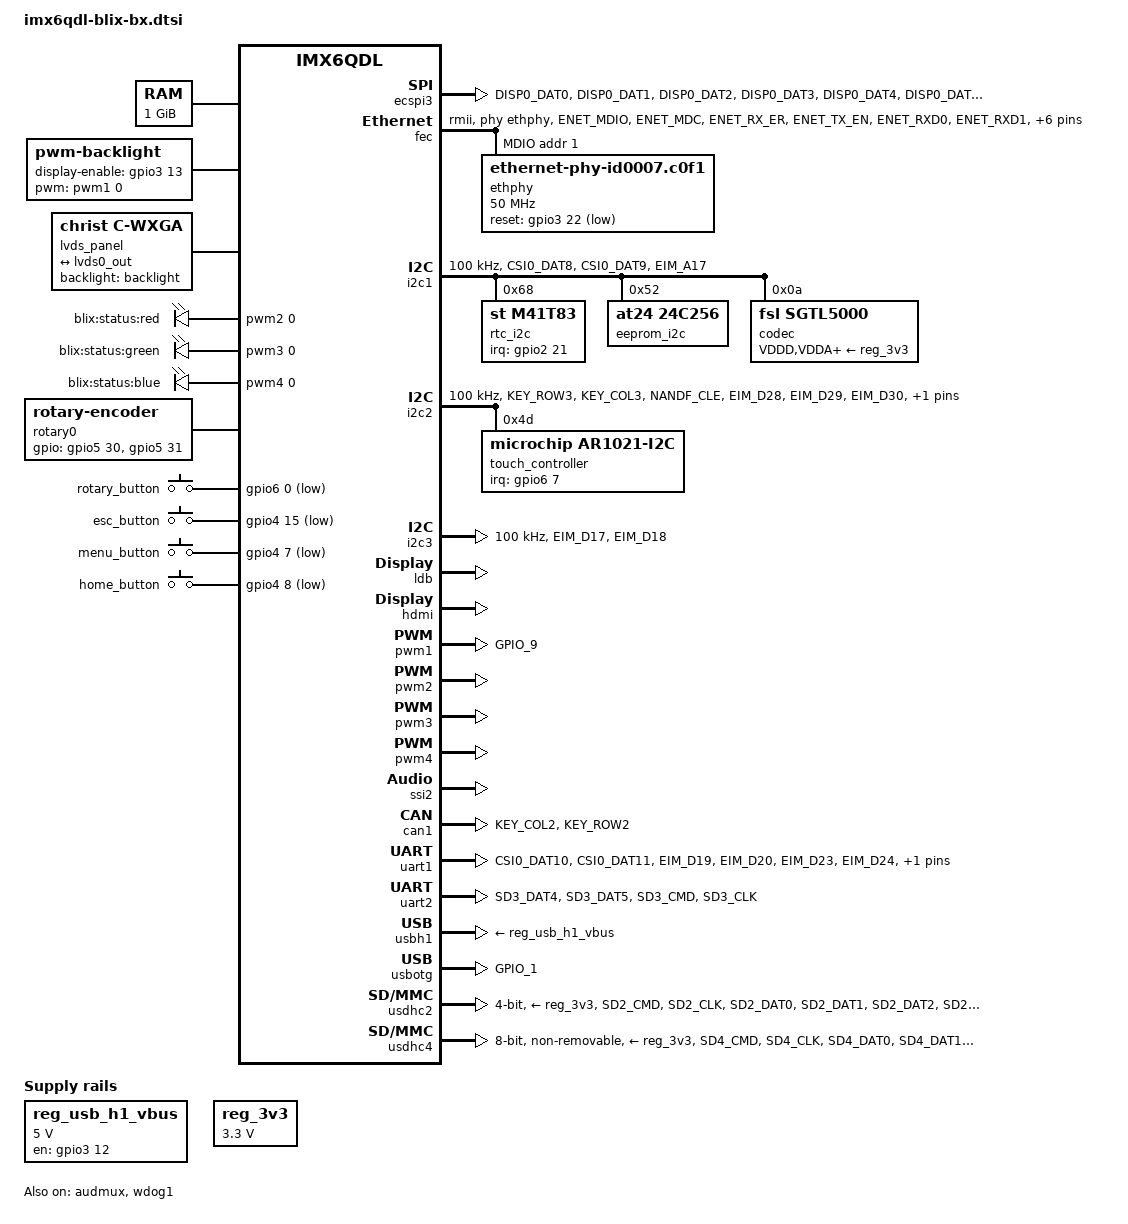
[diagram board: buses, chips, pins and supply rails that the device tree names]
// SPDX-License-Identifier: GPL-2.0+
/*
 * Copyright (C) 2020 Christ Electronic Systems GmbH
 * Peter Fink <pfink@christ-es.de>
 * Copyright 2012-2015 Freescale Semiconductor, Inc.
 * Copyright 2011 Linaro Ltd.
 *
 * The code contained herein is licensed under the GNU General Public
 * License. You may obtain a copy of the GNU General Public License
 * Version 2 or later at the following locations:
 *
 * http://www.opensource.org/licenses/gpl-license.html
 * http://www.gnu.org/copyleft/gpl.html
 */

#include <dt-bindings/clock/imx6qdl-clock.h>
#include <dt-bindings/gpio/gpio.h>
#include <dt-bindings/input/input.h>

/ {

	aliases {
		backlight_lvds = &backlight;
		fb_lvds = &lvds_panel;
		t_lvds = "/panel/panel-timing";
		ldb = &ldb;
	};

	chosen {
		stdout-path = &uart1;
	};

	memory@10000000 {
		reg = <0x10000000 0x40000000>;
	};

	regulators {
		compatible = "simple-bus";
		#address-cells = <1>;
		#size-cells = <0>;

		reg_usb_h1_vbus: regulator@1 {
			compatible = "regulator-fixed";
			reg = <0>;
			regulator-name = "usb_h1_vbus";
			regulator-min-microvolt = <5000000>;
			regulator-max-microvolt = <5000000>;
			pinctrl-names = "default";
			pinctrl-0 = <&pinctrl_usbhub_reset>;
			gpio = <&gpio3 12 0>;
			enable-active-high;
			startup-delay-us = <2000>;
			status = "okay";
		};

		reg_3v3: regulator@2 {
			compatible = "regulator-fixed";
			regulator-name = "3P3V";
			regulator-min-microvolt = <3300000>;
			regulator-max-microvolt = <3300000>;
			regulator-always-on;
		};
	};

	backlight: backlight {
		compatible = "pwm-backlight";
		pwms = <&pwm1 0 5000000>;
		brightness-levels = <0 4 8 16 32 64 128 255>;
		default-brightness-level = <7>;
		pinctrl-0 = <&pinctrl_bkl>;
		display-enable-gpios = <&gpio3 13 0>;
		status = "okay";
	};

	lvds_panel: panel {
		compatible = "christ,c-wxga", "panel-lvds";
		backlight = <&backlight>;

		width-mm = <216>;
		height-mm = <135>;

		data-mapping = "jeida-18";

		panel-timing {
			clock-frequency = <68930000>;
			hactive = <1280>;
			vactive = <800>;
			hback-porch = <64>;
			hfront-porch = <64>;
			vback-porch = <5>;
			vfront-porch = <5>;
			hsync-len = <40>;
			vsync-len = <6>;
		};

		port {
			panel_in: endpoint {
			remote-endpoint = <&lvds0_out>;
			};
		};
	};

	pwm-leds {
		compatible = "pwm-leds";
		pinctrl-names = "default";
		pinctrl-0 = <&pinctrl_status_led_pwms>;

		red {
			label = "blix:status:red";
			pwms = <&pwm2 0 50000>;
			max-brightness = <100>;
			initial-brightness = <0>;
			active-low;
		};

		green {
			label = "blix:status:green";
			pwms = <&pwm3 0 50000>;
			max-brightness = <100>;
			initial-brightness = <0>;
			active-low;
		};

		blue {
			label = "blix:status:blue";
			pwms = <&pwm4 0 50000>;
			max-brightness = <100>;
			initial-brightness = <0>;
			active-low;
		};

	};

	rotary0 {
		compatible = "rotary-encoder";
		pinctrl-names = "default";
		pinctrl-0 = <&pinctrl_rotary>;
		gpios = <&gpio5 30 0>, <&gpio5 31 0>;
		/* linux,axis = <1>;*/ /* REL_Y */
		/* rotary-encoder,relative-axis; */
		rotary-encoder,noaxis;
		rotary-encoder,codeCCW = <60>; /* KEY_F2 */
		rotary-encoder,codeCW = <15>; /* KEY_TAB */
		rotary-encoder,half-period;
	};

	gpio-keys {
		compatible = "gpio-keys";
		pinctrl-names = "default";
		pinctrl-0 = <&pinctrl_gpio_keys>;

		rotary_button {
			label = "rotary_button";
			gpios = <&gpio6 0 GPIO_ACTIVE_LOW>;
			debounce-interval = <10>;
			linux,code = <28>; /* KEY_ENTER */
		};

		home_button {
			label = "esc_button";
			gpios = <&gpio4 15 GPIO_ACTIVE_LOW>;
			debounce-interval = <10>;
			linux,code = <1>; /* KEY_ESC */
		};

		menu_button {
			label = "menu_button";
			gpios = <&gpio4 7 GPIO_ACTIVE_LOW>;
			debounce-interval = <10>;
			linux,code = <127>; /* KEY_COMPOSE */
		};

		esc_button {
			label = "home_button";
			gpios = <&gpio4 8 GPIO_ACTIVE_LOW>;
			debounce-interval = <10>;
			linux,code = <102>; /* KEY_HOME */
		};

	};

	hannstar_cabc {
		compatible = "hannstar,cabc";
		pinctrl-names = "default";
		pinctrl-0 = <&pinctrl_cabc>;
		lvds0 {
			gpios = <&gpio6 15 GPIO_ACTIVE_HIGH>;
		};
	};

	sound {
		compatible = "fsl,imx6q-sabrelite-sgtl5000",
			     "fsl,imx-audio-sgtl5000";
		model = "imx6q-crix-arx-sgtl5000";
		ssi-controller = <&ssi2>;
		audio-codec = <&codec>;
		audio-routing =
			"Ext Spk", "LINE_OUT";
		mux-int-port = <2>;
		mux-ext-port = <3>;
	};
};

&audmux {
	pinctrl-names = "default";
	pinctrl-0 = <&pinctrl_audmux>;
	status = "okay";
};

&clks {
	assigned-clocks = <&clks IMX6QDL_CLK_LDB_DI0_SEL>,
			  <&clks IMX6QDL_CLK_LDB_DI1_SEL>;
	assigned-clock-parents = <&clks IMX6QDL_CLK_PLL5_VIDEO_DIV>,
				 <&clks IMX6QDL_CLK_PLL5_VIDEO_DIV>;
};

&ecspi3 {
	fsl,spi-num-chipselects = <2>;
	cs-gpios = <&gpio4 24 0>, <&gpio4 25 0>;
	pinctrl-0 = <&pinctrl_ecspi3>;
	status = "okay";
};

&fec {
	pinctrl-names = "default";
	pinctrl-0 = <&pinctrl_enet>;
	phy-mode = "rmii";
	interrupts-extended = <&gpio1 6 IRQ_TYPE_LEVEL_HIGH>,
			      <&intc 0 119 IRQ_TYPE_LEVEL_HIGH>;
	fsl,err006687-workaround-present;
	phy-handle = <&ethphy>;
	status = "okay";

	mdio {
		#address-cells = <1>;
		#size-cells = <0>;

		ethphy: ethernet-phy@1 {
			compatible = "ethernet-phy-id0007.c0f1", "ethernet-phy-ieee802.3-c22";
			smsc,disable-energy-detect;
			reg = <1>;
			max-speed = <100>;
			clock-frequency = <50000000>;
			pinctrl-names = "default";
			pinctrl-0 = <&pinctrl_ethphy>;
			reset-gpios = <&gpio3 22 GPIO_ACTIVE_LOW>;
			reset-assert-us = <120>;
			reset-deassert-us = <120>;
		};
	};
};

&i2c1 {
	clock-frequency = <100000>;
	pinctrl-names = "default";
	pinctrl-0 = <&pinctrl_i2c1>;
	status = "okay";

        rtc_i2c: rtc@68 {
                compatible = "st,m41t83";
                reg = <0x68>;
		interrupt-parent = <&gpio2>;
		interrupts = <21 IRQ_TYPE_LEVEL_LOW>;
        };

        eeprom_i2c: at24@52 {
                compatible = "at24,24c256";
                pagesize = <32>;
                reg = <0x52>;
        };

	codec: sgtl5000@0a {
		compatible = "fsl,sgtl5000";
		reg = <0x0a>;
		clocks = <&clks 201>;
		VDDD-supply = <&reg_3v3>;
		VDDA-supply = <&reg_3v3>;
		VDDIO-supply = <&reg_3v3>;
	};
};

&i2c2 {
	clock-frequency = <100000>;
	pinctrl-names = "default";
	pinctrl-0 = <&pinctrl_i2c2>;
	status = "okay";

	touch_controller: ar1021@4d {
		compatible = "microchip,ar1021-i2c";
		reg = <0x4d>;
		interrupt-parent = <&gpio6>;
		interrupts = <7 IRQ_TYPE_LEVEL_HIGH>;
	};

	/* HDMI/EDID */
};

&i2c3 {
	clock-frequency = <100000>;
	pinctrl-names = "default";
	pinctrl-0 = <&pinctrl_i2c3>;
	status = "okay";
};

&iomuxc {
	pinctrl-names = "default";
	pinctrl-0 = <&pinctrl_extra &pinctrl_config>;

	blix {
		pinctrl_extra: extragrp {
			fsl,pins = <
				MX6QDL_PAD_EIM_D26__GPIO3_IO26		0x130b0 /* RESET_OUT_GPIO */
				MX6QDL_PAD_NANDF_WP_B__GPIO6_IO09	0x130b0 /* WDOG_RESET_IN */
				MX6QDL_PAD_NANDF_RB0__GPIO6_IO10	0x130b0 /* WDOG_RESET_OUT */
			>;
		};

		pinctrl_config: configgrp {
			fsl,pins = <
				MX6QDL_PAD_EIM_DA3__GPIO3_IO03		0x130b0 /* config_0 */
				MX6QDL_PAD_EIM_DA6__GPIO3_IO06		0x130b0 /* config_1 */
				MX6QDL_PAD_EIM_DA8__GPIO3_IO08		0x130b0 /* config_2 */
			>;
		};

		pinctrl_enet: enetgrp {
			fsl,pins = <
				MX6QDL_PAD_ENET_MDIO__ENET_MDIO		0x1b0b0
				MX6QDL_PAD_ENET_MDC__ENET_MDC		0x1b0b0
				MX6QDL_PAD_ENET_RX_ER__ENET_RX_ER	0x1b0b0
				MX6QDL_PAD_ENET_TX_EN__ENET_TX_EN	0x1b0b0
				MX6QDL_PAD_ENET_RXD0__ENET_RX_DATA0	0x1b0b0
				MX6QDL_PAD_ENET_RXD1__ENET_RX_DATA1	0x1b0b0
				MX6QDL_PAD_ENET_TXD0__ENET_TX_DATA0	0x1b0b0
				MX6QDL_PAD_ENET_TXD1__ENET_TX_DATA1	0x1b0b0
				MX6QDL_PAD_GPIO_16__ENET_REF_CLK	0x4001b0a8
				MX6QDL_PAD_ENET_CRS_DV__ENET_RX_EN	0x1b0b0
				MX6QDL_PAD_GPIO_6__ENET_IRQ		0x000b1 /* workaround for err006687 */
				MX6QDL_PAD_EIM_DA7__GPIO3_IO07		0x1b0b0 /* LAN8720 nINT - not used at the moment */
			>;
		};

		pinctrl_ethphy: ethphygrp {
			fsl,pins = <
				MX6QDL_PAD_EIM_D22__GPIO3_IO22          0x1b0b0 /* LAN8720 nRST */
			>;
		};

		pinctrl_bkl: gpio_bkl {
			fsl,pins = <
				MX6QDL_PAD_GPIO_17__GPIO7_IO12		0x130b0 /* PD */
			>;
		};

		pinctrl_status_led_pwms: rgbpwmgrp {
			fsl,pins = <
				MX6QDL_PAD_SD1_DAT2__PWM2_OUT		0x1b0b0
				MX6QDL_PAD_SD1_DAT1__PWM3_OUT		0x1b0b0
				MX6QDL_PAD_SD1_CMD__PWM4_OUT		0x1b0b0
			>;
		};

		pinctrl_i2c1: i2c1grp {
			fsl,pins = <
				MX6QDL_PAD_CSI0_DAT8__I2C1_SDA		0x4001b8b1
				MX6QDL_PAD_CSI0_DAT9__I2C1_SCL		0x4001b8b1
				MX6QDL_PAD_EIM_A17__GPIO2_IO21		0x1b0b0 /* RTC_ALARM_IRQ */
			>;
		};

		pinctrl_i2c2: i2c2grp {
				fsl,pins = <
					MX6QDL_PAD_KEY_ROW3__I2C2_SDA		0x4001b8b1
					MX6QDL_PAD_KEY_COL3__I2C2_SCL		0x4001b8b1
					MX6QDL_PAD_NANDF_CLE__GPIO6_IO07	0x130b0 /* AR1021_INT */
					MX6QDL_PAD_EIM_D28__GPIO3_IO28		0x130b0 /* I2C2_1_INT1 */
					MX6QDL_PAD_EIM_D29__GPIO3_IO29		0x130b0 /* I2C2_1_INT2 */
					MX6QDL_PAD_EIM_D30__GPIO3_IO30		0x130b0 /* I2C2_2_INT1 */
					MX6QDL_PAD_EIM_D31__GPIO3_IO31		0x130b0 /* I2C2_2_INT2 */
				>;
			};

		pinctrl_i2c3: i2c3grp {
			fsl,pins = <
				MX6QDL_PAD_EIM_D17__I2C3_SCL		0x4001b8b1
				MX6QDL_PAD_EIM_D18__I2C3_SDA		0x4001b8b1
			>;
		};

		pinctrl_ecspi3: spi3grp {
			fsl,pins = <
				MX6QDL_PAD_DISP0_DAT0__ECSPI3_SCLK	0x100b1
				MX6QDL_PAD_DISP0_DAT1__ECSPI3_MOSI	0x100b1
				MX6QDL_PAD_DISP0_DAT2__ECSPI3_MISO	0x100b1
				MX6QDL_PAD_DISP0_DAT3__GPIO4_IO24	0x1b0b0
				MX6QDL_PAD_DISP0_DAT4__GPIO4_IO25	0x1b0b0
				MX6QDL_PAD_DISP0_DAT5__GPIO4_IO26	0x130b0
				MX6QDL_PAD_DISP0_DAT6__GPIO4_IO27	0x130b0
				MX6QDL_PAD_DISP0_DAT7__GPIO4_IO28	0x130b0
				MX6QDL_PAD_DISP0_DAT8__GPIO4_IO29	0x130b0
				MX6QDL_PAD_DISP0_DAT9__GPIO4_IO30	0x130b0
				MX6QDL_PAD_DISP0_DAT10__GPIO4_IO31	0x130b0
				MX6QDL_PAD_DISP0_DAT11__GPIO5_IO05	0x130b0
				MX6QDL_PAD_DISP0_DAT12__GPIO5_IO06	0x130b0
			>;
		};

		pinctrl_audmux: audmuxgrp {
			fsl,pins = <
				MX6QDL_PAD_CSI0_DAT4__AUD3_TXC		0x130b0
				MX6QDL_PAD_CSI0_DAT5__AUD3_TXD		0x110b0
				MX6QDL_PAD_CSI0_DAT6__AUD3_TXFS		0x130b0
				MX6QDL_PAD_CSI0_DAT7__AUD3_RXD		0x130b0
				/* SGTL5000 sys_mclk */
				MX6QDL_PAD_GPIO_0__CCM_CLKO1		0x03088
			>;
		};

		pinctrl_pwm1: pwm1grp {
			fsl,pins = <
				MX6QDL_PAD_GPIO_9__PWM1_OUT		0x1b0b1
			>;
		};

		pinctrl_uart1: uart1grp {
			fsl,pins = <
				MX6QDL_PAD_CSI0_DAT10__UART1_TX_DATA	0x1b0b1
				MX6QDL_PAD_CSI0_DAT11__UART1_RX_DATA	0x1b0b1
				MX6QDL_PAD_EIM_D19__UART1_CTS_B		0x1b0b1
				MX6QDL_PAD_EIM_D20__UART1_RTS_B		0x1b0b1
				MX6QDL_PAD_EIM_D23__UART1_DCD_B		0x1b0b1
				MX6QDL_PAD_EIM_D24__UART1_DTR_B		0x1b0b1
				MX6QDL_PAD_EIM_D25__UART1_DSR_B		0x1b0b1
			>;
		};

		pinctrl_uart2: uart2grp {
			fsl,pins = <
				MX6QDL_PAD_SD3_DAT4__UART2_RX_DATA	0x1b0b1
				MX6QDL_PAD_SD3_DAT5__UART2_TX_DATA	0x1b0b1
				MX6QDL_PAD_SD3_CMD__UART2_CTS_B		0x1b0b1
				MX6QDL_PAD_SD3_CLK__UART2_RTS_B		0x1b0b1
			>;
		};

		pinctrl_usbotg: usbotggrp {
			fsl,pins = <
				MX6QDL_PAD_GPIO_1__USB_OTG_ID		0x17059
			>;
		};

		pinctrl_usbhub_reset: usbhub_reset {
			fsl,pins = <
				MX6QDL_PAD_EIM_DA12__GPIO3_IO12		0x130b0
			>;
		};

		pinctrl_rotary: rotarygrp {
			fsl,pins = <
				MX6QDL_PAD_CSI0_DAT12__GPIO5_IO30	0x1b0b0
				MX6QDL_PAD_CSI0_DAT13__GPIO5_IO31	0x1b0b0
			>;
		};

		pinctrl_gpio_keys: frontkeygrp {
			fsl,pins = <
				MX6QDL_PAD_CSI0_DAT14__GPIO6_IO00	0x1b0b0 /* rotary enter button */
				MX6QDL_PAD_KEY_ROW0__GPIO4_IO07		0x1b0b0 /* menu key */
				MX6QDL_PAD_KEY_COL1__GPIO4_IO08		0x1b0b0 /* esc key */
				MX6QDL_PAD_KEY_ROW4__GPIO4_IO15		0x1b0b0 /* home key */
				MX6QDL_PAD_KEY_ROW1__GPIO4_IO09		0x130b0 /* key reference out */
			>;
		};

		pinctrl_cabc: cabcgrp {
			fsl,pins = <
				MX6QDL_PAD_NANDF_CS2__GPIO6_IO15	0x130b0
			>;
		};

		pinctrl_usdhc2: usdhc2grp {
			fsl,pins = <
				MX6QDL_PAD_SD2_CMD__SD2_CMD		0x17059
				MX6QDL_PAD_SD2_CLK__SD2_CLK		0x10059
				MX6QDL_PAD_SD2_DAT0__SD2_DATA0		0x17059
				MX6QDL_PAD_SD2_DAT1__SD2_DATA1		0x17059
				MX6QDL_PAD_SD2_DAT2__SD2_DATA2		0x17059
				MX6QDL_PAD_SD2_DAT3__SD2_DATA3		0x17059
				MX6QDL_PAD_NANDF_D2__GPIO2_IO02		0x1b0b0
			>;
		};

		pinctrl_usdhc4: usdhc4grp {
			fsl,pins = <
				MX6QDL_PAD_SD4_CMD__SD4_CMD		0x17059
				MX6QDL_PAD_SD4_CLK__SD4_CLK		0x10059
				MX6QDL_PAD_SD4_DAT0__SD4_DATA0		0x17059
				MX6QDL_PAD_SD4_DAT1__SD4_DATA1		0x17059
				MX6QDL_PAD_SD4_DAT2__SD4_DATA2		0x17059
				MX6QDL_PAD_SD4_DAT3__SD4_DATA3		0x17059
				MX6QDL_PAD_SD4_DAT4__SD4_DATA4		0x17059
				MX6QDL_PAD_SD4_DAT5__SD4_DATA5		0x17059
				MX6QDL_PAD_SD4_DAT6__SD4_DATA6		0x17059
				MX6QDL_PAD_SD4_DAT7__SD4_DATA7		0x17059
				MX6QDL_PAD_NANDF_ALE__SD4_RESET		0x17059
			>;
		};

		pinctrl_flexcan1: can1grp {
			fsl,pins = <
				MX6QDL_PAD_KEY_COL2__FLEXCAN1_TX	0x1b0b0
				MX6QDL_PAD_KEY_ROW2__FLEXCAN1_RX	0x1b0b0
			>;
		};
	};
};

&ldb {
	status = "okay";

	lvds-channel@0 {
		fsl,data-mapping = "spwg";
		fsl,data-width = <18>;
		status = "okay";

		port@4 {
			reg = <4>;

			lvds0_out: endpoint {
				remote-endpoint = <&panel_in>;
			};
		};
	};
};

&hdmi {
	pinctrl-names = "default";
	ddc-i2c-bus = <&i2c2>;
	status = "okay";
};

&pwm1 {
	pinctrl-names = "default";
	pinctrl-0 = <&pinctrl_pwm1>;
	status = "okay";
};

&pwm2 {
	status = "okay";
};

&pwm3 {
	status = "okay";
};

&pwm4 {
	status = "okay";
};

&snvs_poweroff {
	status = "okay";
};

&snvs {
	snvs-pwrkey@020cc000 {
		compatible = "fsl,sec-v4.0-pwrkey";
		regmap = <&snvs>;
		interrupts = <GIC_SPI 4 IRQ_TYPE_LEVEL_HIGH>;
		linux,keycode = <KEY_POWER>;
		wakeup-source;
		status = "okay";
	};
};

&ssi2 {
	fsl,mode = "i2s-slave";
	status = "okay";
};

&can1{
	pinctrl-names = "default";
	pinctrl-0 = <&pinctrl_flexcan1>;
	status = "okay";
};

&uart1 {
	pinctrl-names = "default";
	pinctrl-0 = <&pinctrl_uart1>;
	status = "okay";
};

&uart2 {
	pinctrl-names = "default";
	pinctrl-0 = <&pinctrl_uart2>;
	status = "okay";
};

&uart3 {
	status = "disabled";
};

&usbh1 {
	vbus-supply = <&reg_usb_h1_vbus>;
	status = "okay";
};

&usbotg {
	pinctrl-names = "default";
	pinctrl-0 = <&pinctrl_usbotg>;
	disable-over-current;
	srp-disable;
	hnp-disable;
	adp-disable;
	status = "okay";
};

&usbphy1 {
	tx-d-cal = <0x5>;
};

&usbphy2 {
	tx-d-cal = <0x5>;
};

&usdhc2 {
	pinctrl-names = "default";
	pinctrl-0 = <&pinctrl_usdhc2>;
	bus-width = <4>;
	cd-gpios = <&gpio2 2 GPIO_ACTIVE_LOW>;
	vmmc-supply = <&reg_3v3>;
	vqmmc-supply = <&reg_3v3>;
	no-1-8-v;
	status = "okay";
};

&usdhc4 {
	pinctrl-names = "default";
	pinctrl-0 = <&pinctrl_usdhc4>;
	bus-width = <8>;
	vmmc-supply = <&reg_3v3>;
	vqmmc-supply = <&reg_3v3>;
	non-removable;
	no-1-8-v;
	keep-power-in-suspend;
	status = "okay";
};

&wdog1 {
	status = "okay";
};

&wdog2 {
	status = "disabled";
};
